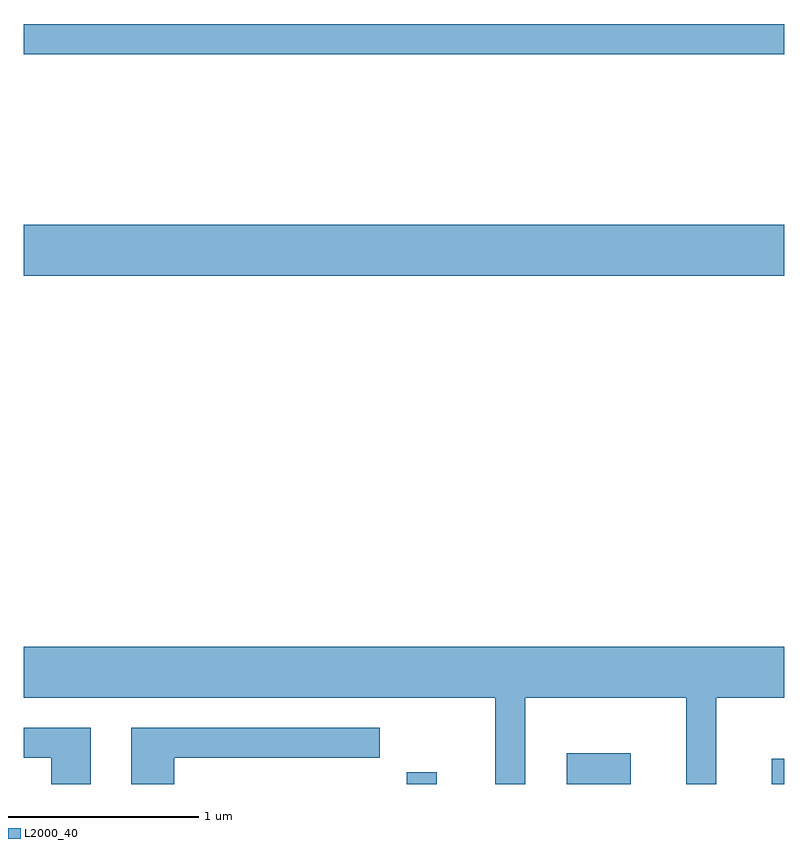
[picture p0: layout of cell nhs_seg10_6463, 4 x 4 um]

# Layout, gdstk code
import gdstk
lib = gdstk.Library(unit=1e-6, precision=1e-09)
def R(c, l, rs):  # rectangles x0, y0, x1, y1
    for r in rs: c.add(gdstk.rectangle(r[:2], r[2:], *l))
def P(c, l, *ps):  # polygons
    for p in ps: c.add(gdstk.Polygon(p, *l))
L2000_40 = (2000, 40)

nhs_seg10_6463 = lib.new_cell('nhs_seg10_6463')
R(nhs_seg10_6463, L2000_40, [(377.626,2164.522,377.784,2164.583), (378.466,2164.522,378.804,2164.684), (379.546,2164.522,379.611,2164.654), (375.611,2167.196,379.611,2167.464), (375.611,2168.361,379.611,2168.519)])
P(nhs_seg10_6463, L2000_40, [(375.611,2164.976),(378.091,2164.976),(378.091,2164.522),(378.249,2164.522),(378.249,2164.976),(379.096,2164.976),(379.096,2164.522),(379.254,2164.522),(379.254,2164.976),(379.611,2164.976),(379.611,2165.244),(375.611,2165.244)],
  [(375.964,2164.819),(375.611,2164.819),(375.611,2164.661),(375.756,2164.661),(375.756,2164.522),(375.964,2164.522)],
  [(376.404,2164.661),(377.483,2164.661),(377.483,2164.819),(376.176,2164.819),(376.176,2164.522),(376.404,2164.522)])

lib.write_gds('nhs_seg10_6463.gds')
